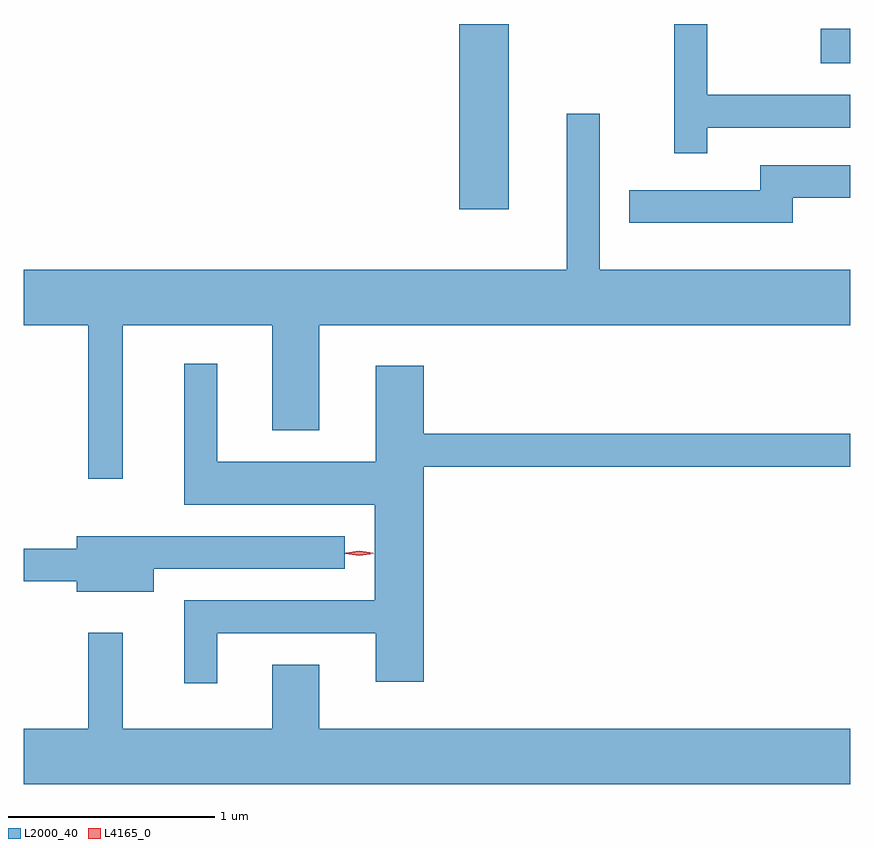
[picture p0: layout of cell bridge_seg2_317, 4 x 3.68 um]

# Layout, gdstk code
import gdstk
lib = gdstk.Library(unit=1e-6, precision=1e-09)
def R(c, l, rs):  # rectangles x0, y0, x1, y1
    for r in rs: c.add(gdstk.rectangle(r[:2], r[2:], *l))
def P(c, l, *ps):  # polygons
    for p in ps: c.add(gdstk.Polygon(p, *l))
L2000_40 = (2000, 40)
L4165_0 = (4165, 0)

bridge_seg2_317 = lib.new_cell('bridge_seg2_317')
R(bridge_seg2_317, L2000_40, [(401.406,1008.916,401.644,1009.812), (403.153,1009.621,403.298,1009.789)])
P(bridge_seg2_317, L2000_40, [(402.604,1009.311),(403.298,1009.311),(403.298,1009.469),(402.604,1009.469),(402.604,1009.812),(402.446,1009.812),(402.446,1009.188),(402.604,1009.188)],
  [(399.779,1008.356),(400.501,1008.356),(400.501,1007.846),(400.729,1007.846),(400.729,1008.356),(403.298,1008.356),(403.298,1008.624),(402.084,1008.624),(402.084,1009.378),(401.926,1009.378),(401.926,1008.624),(399.298,1008.624),(399.298,1008.356),(399.611,1008.356),(399.611,1007.613),(399.779,1007.613)],
  [(403.019,1008.971),(403.298,1008.971),(403.298,1009.129),(402.861,1009.129),(402.861,1009.009),(402.228,1009.009),(402.228,1008.851),(403.019,1008.851)],
  [(400.234,1006.866),(401.001,1006.866),(401.001,1006.631),(401.234,1006.631),(401.234,1007.671),(403.298,1007.671),(403.298,1007.829),(401.234,1007.829),(401.234,1008.159),(401.001,1008.159),(401.001,1007.694),(400.234,1007.694),(400.234,1008.168),(400.076,1008.168),(400.076,1007.486),(400.996,1007.486),(400.996,1007.024),(400.076,1007.024),(400.076,1006.623),(400.234,1006.623)],
  [(399.929,1007.176),(400.853,1007.176),(400.853,1007.334),(399.556,1007.334),(399.556,1007.274),(399.298,1007.274),(399.298,1007.116),(399.556,1007.116),(399.556,1007.066),(399.929,1007.066)],
  [(403.298,1006.404),(400.729,1006.404),(400.729,1006.714),(400.501,1006.714),(400.501,1006.404),(399.779,1006.404),(399.779,1006.868),(399.611,1006.868),(399.611,1006.404),(399.298,1006.404),(399.298,1006.136),(403.298,1006.136)])
P(bridge_seg2_317, L4165_0, [(400.923,1007.24),(400.854,1007.25),(400.853,1007.25),(400.854,1007.251),(400.923,1007.26),(400.992,1007.25),(400.993,1007.25),(400.992,1007.249)],
  [(400.923,1007.245),(400.857,1007.254),(400.857,1007.255),(400.857,1007.255),(400.923,1007.265),(400.989,1007.255),(400.99,1007.255),(400.989,1007.254)])

lib.write_gds('bridge_seg2_317.gds')
